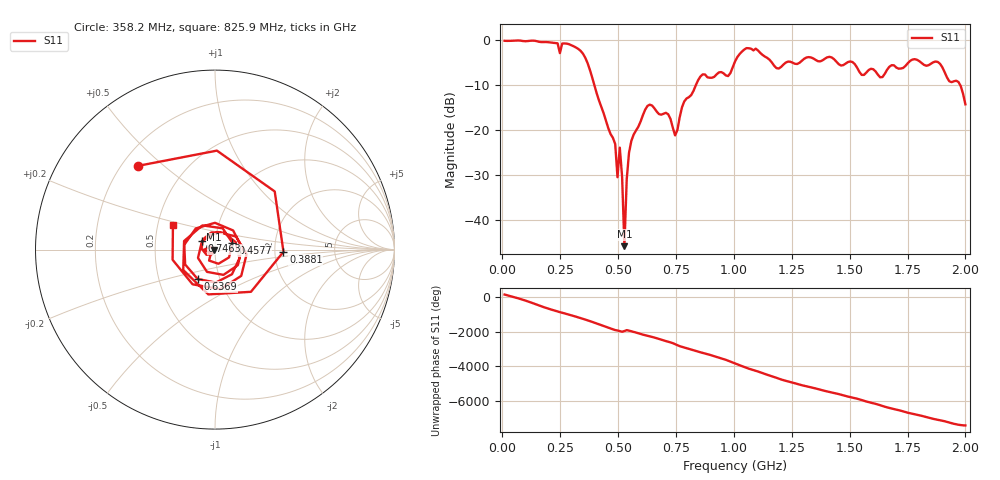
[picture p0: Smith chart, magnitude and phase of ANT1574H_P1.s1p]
!Created with skrf (http://scikit-rf.org).
# Hz S RI R 50.0
!freq ReS11 ImS11
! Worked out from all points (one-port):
!   201 points, 10 MHz to 2 GHz, reference 50 ohm
!   lowest |S11| = -45.9 dB at 527.4 MHz (marker M1), VSWR 1.01, Z = 49.5 - j0.067 ohm
!   |S11| at or under -10 dB: 397 MHz to 836.8 MHz (439.9 MHz wide, 71.3 % of centre); 1.977 GHz to end of sweep
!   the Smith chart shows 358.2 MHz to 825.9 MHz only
!   S11 on the Smith chart (normalised r, x): 358.2 MHz: 0.27, +0.41; 388.1 MHz: 2.23, -0.06; 457.8 MHz: 1.21, +0.09; 636.9 MHz: 0.78, -0.27; 746.3 MHz: 0.86, +0.08; 825.9 MHz: 0.60, +0.18
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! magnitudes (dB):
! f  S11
! 10 MHz  -0.2
! 258.8 MHz  -0.8
! 358.2 MHz  -4.0
! 388.1 MHz  -8.4
! 457.8 MHz  -19.7
! 487.6 MHz  -23.2
! 497.6 MHz  -30.6
! 507.5 MHz  -24.0
! 517.5 MHz  -30.5
! 527.4 MHz  -45.9
! 537.4 MHz  -31.1
! 547.3 MHz  -25.1
! 636.9 MHz  -14.4
! 716.5 MHz  -16.6
! 746.3 MHz  -21.3
! 756.2 MHz  -20.1
! 786.1 MHz  -13.7
! 825.9 MHz  -11.3
! 1.005 GHz  -4.8
! 1.055 GHz  -1.9
! 1.184 GHz  -6.3
! 1.254 GHz  -5.1
! 1.502 GHz  -4.8
! 1.632 GHz  -8.3
! 1.751 GHz  -5.2
! 1.881 GHz  -4.9
! 1.97 GHz  -9.4
! 2 GHz  -14.4
